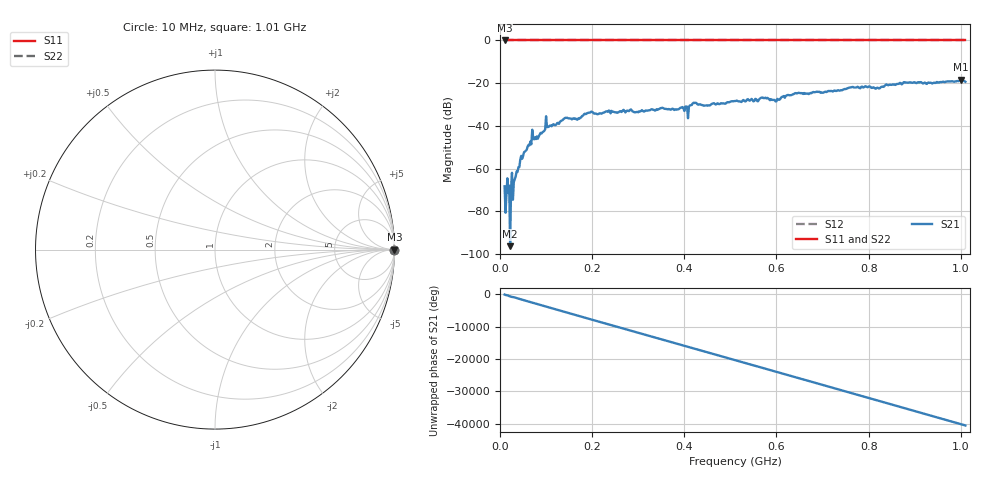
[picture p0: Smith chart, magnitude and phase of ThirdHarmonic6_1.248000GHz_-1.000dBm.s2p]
! 8/16/2025 1:19:21 PM
! C:\ANRITSUVNA\TEMP\TEMP.S2P
! CHANNEL.1
! TR.MEASUREMENT
! RAW.DATA
! RF.CORRECTION.OFF
! AVERAGING.OFF
! IF.BANDWIDTH: 5KHZ
! SWEEPTYPE:  FREQ.SWEEP(Linear)
! Reference Plane Port Info
! PORT:  PORT1  PORT2
! DISTANCE:  0  m  0  m
! TIME:  0  s  0  s
! PHASE.OFFSET:  0  deg.  0  deg.
! LOSS:  0  dB  0  dB
! REF.LOSS:  0  dB  0  dB
! REF.FREQ:  0  Hz  0  Hz
! Power Info
! POWER:  -20  dBm  -20  dBm
! EFF.POWER:  -20  dBm  -20  dBm
! SOURCE.ATTEN:  0  dB  0  dB
! TEST.ATTEN:  0  dB  0  dB
# GHZ S RI R 50.0
! FREQ.GHZ  S11RE  S11IM  S21RE  S21IM  S12RE  S12IM  S22RE  S22IM
!; PortSelection: Port_12
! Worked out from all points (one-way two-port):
!   501 points, 10 MHz to 1.01 GHz, reference 50 ohm
!   highest |S21| = -18.32 dB at 1 GHz (marker M1); lowest = -96.3 dB at 22 MHz (marker M2)
!   lowest |S11| = 0.0 dB at 10 MHz (marker M3)
!   |S11| at or under -10 dB: nowhere
!   |S22| runs from 0.0 to 0.0 dB; largest |S21 - S12| = 1.1
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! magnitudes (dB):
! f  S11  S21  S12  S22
! 10 MHz  0.0  -68.3  0.0  0.0
! 22 MHz  0.0  -96.3  0.0  0.0
! 26 MHz  0.0  -62.0  0.0  0.0
! 28 MHz  0.0  -74.6  0.0  0.0
! 32 MHz  0.0  -65.0  0.0  0.0
! 48 MHz  0.0  -55.4  0.0  0.0
! 70 MHz  0.0  -41.8  0.0  0.0
! 82 MHz  0.0  -46.0  0.0  0.0
! 104 MHz  0.0  -40.5  0.0  0.0
! 178 MHz  0.0  -35.4  0.0  0.0
! 196 MHz  0.0  -33.8  0.0  0.0
! 344 MHz  0.0  -32.2  0.0  0.0
! 404 MHz  0.0  -30.9  0.0  0.0
! 422 MHz  0.0  -29.3  0.0  0.0
! 450 MHz  0.0  -30.5  0.0  0.0
! 510 MHz  0.0  -28.4  0.0  0.0
! 602 MHz  0.0  -27.4  0.0  0.0
! 644 MHz  0.0  -24.8  0.0  0.0
! 678 MHz  0.0  -24.3  0.0  0.0
! 844 MHz  0.0  -20.8  0.0  0.0
! 1 GHz  0.0  -18.3  0.0  0.0
! 1.01 GHz  0.0  -19.4  0.0  0.0
